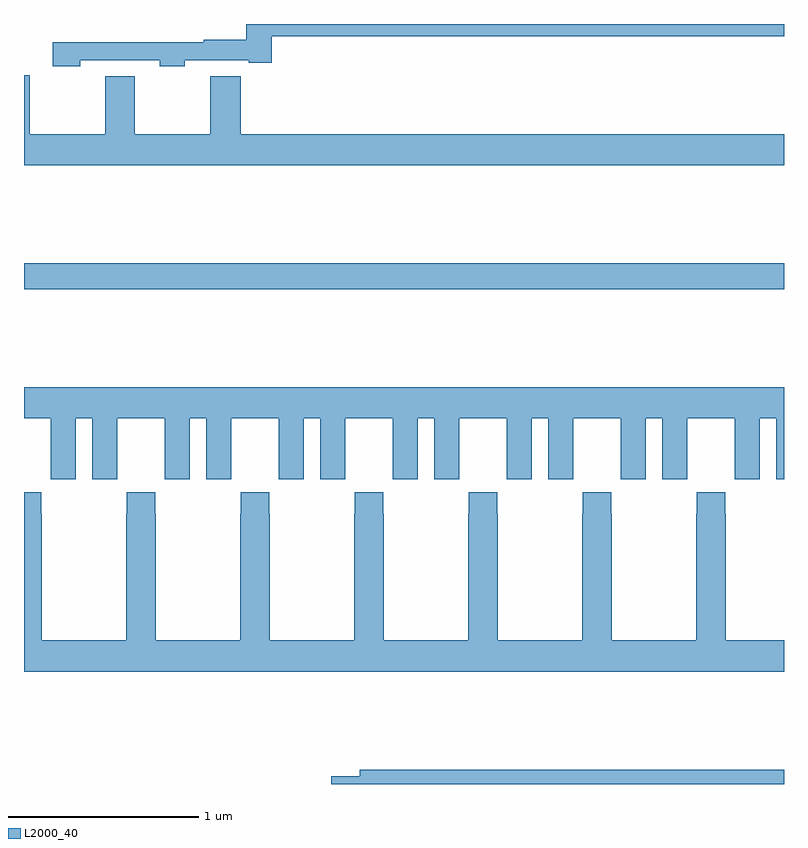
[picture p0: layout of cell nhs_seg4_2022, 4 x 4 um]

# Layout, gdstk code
import gdstk
lib = gdstk.Library(unit=1e-6, precision=1e-09)
def R(c, l, rs):  # rectangles x0, y0, x1, y1
    for r in rs: c.add(gdstk.rectangle(r[:2], r[2:], *l))
def P(c, l, *ps):  # polygons
    for p in ps: c.add(gdstk.Polygon(p, *l))
L2000_40 = (2000, 40)

nhs_seg4_2022 = lib.new_cell('nhs_seg4_2022')
R(nhs_seg4_2022, L2000_40, [(215,793.504,219,793.64)])
P(nhs_seg4_2022, L2000_40, [(215.295,794.709),(215.715,794.709),(215.715,794.677),(215.847,794.677),(215.847,794.709),(216.182,794.709),(216.182,794.697),(216.305,794.697),(216.305,794.836),(219,794.836),(219,794.9),(216.169,794.9),(216.169,794.818),(215.947,794.818),(215.947,794.805),(215.151,794.805),(215.151,794.677),(215.295,794.677)],
  [(219,794.32),(216.14,794.32),(216.14,794.624),(215.98,794.624),(215.98,794.32),(215.582,794.32),(215.582,794.624),(215.428,794.624),(215.428,794.32),(215.031,794.32),(215.031,794.629),(215,794.629),(215,794.156),(219,794.156)],
  [(215.272,792.824),(215.36,792.824),(215.36,792.504),(215.49,792.504),(215.49,792.616),(215.491,792.616),(215.491,792.824),(215.741,792.824),(215.741,792.616),(215.742,792.616),(215.742,792.504),(215.872,792.504),(215.872,792.824),(215.96,792.824),(215.96,792.504),(216.09,792.504),(216.09,792.616),(216.091,792.616),(216.091,792.824),(216.341,792.824),(216.341,792.616),(216.342,792.616),(216.342,792.504),(216.472,792.504),(216.472,792.824),(216.56,792.824),(216.56,792.504),(216.69,792.504),(216.69,792.616),(216.691,792.616),(216.691,792.824),(216.941,792.824),(216.941,792.616),(216.942,792.616),(216.942,792.504),(217.072,792.504),(217.072,792.824),(217.16,792.824),(217.16,792.504),(217.29,792.504),(217.29,792.616),(217.291,792.616),(217.291,792.824),(217.541,792.824),(217.541,792.616),(217.542,792.616),(217.542,792.504),(217.672,792.504),(217.672,792.824),(217.76,792.824),(217.76,792.504),(217.89,792.504),(217.89,792.616),(217.891,792.616),(217.891,792.824),(218.141,792.824),(218.141,792.616),(218.142,792.616),(218.142,792.504),(218.272,792.504),(218.272,792.824),(218.36,792.824),(218.36,792.504),(218.49,792.504),(218.49,792.616),(218.491,792.616),(218.491,792.824),(218.741,792.824),(218.741,792.616),(218.742,792.616),(218.742,792.504),(218.872,792.504),(218.872,792.824),(218.96,792.824),(218.96,792.504),(219,792.504),(219,792.988),(215,792.988),(215,792.824),(215.141,792.824),(215.141,792.616),(215.142,792.616),(215.142,792.504),(215.272,792.504)],
  [(215.541,792.436),(215.541,792.323),(215.539,792.323),(215.539,791.656),(215.094,791.656),(215.094,792.323),(215.091,792.323),(215.091,792.436),(215,792.436),(215,791.492),(219,791.492),(219,791.656),(218.694,791.656),(218.694,792.323),(218.691,792.323),(218.691,792.436),(218.541,792.436),(218.541,792.323),(218.539,792.323),(218.539,791.656),(218.094,791.656),(218.094,792.323),(218.091,792.323),(218.091,792.436),(217.941,792.436),(217.941,792.323),(217.939,792.323),(217.939,791.656),(217.494,791.656),(217.494,792.323),(217.491,792.323),(217.491,792.436),(217.341,792.436),(217.341,792.323),(217.339,792.323),(217.339,791.656),(216.894,791.656),(216.894,792.323),(216.891,792.323),(216.891,792.436),(216.741,792.436),(216.741,792.323),(216.739,792.323),(216.739,791.656),(216.294,791.656),(216.294,792.323),(216.291,792.323),(216.291,792.436),(216.141,792.436),(216.141,792.323),(216.139,792.323),(216.139,791.656),(215.694,791.656),(215.694,792.323),(215.691,792.323),(215.691,792.436)],
  [(219,790.976),(216.767,790.976),(216.767,790.94),(216.618,790.94),(216.618,790.9),(219,790.9)])

lib.write_gds('nhs_seg4_2022.gds')
